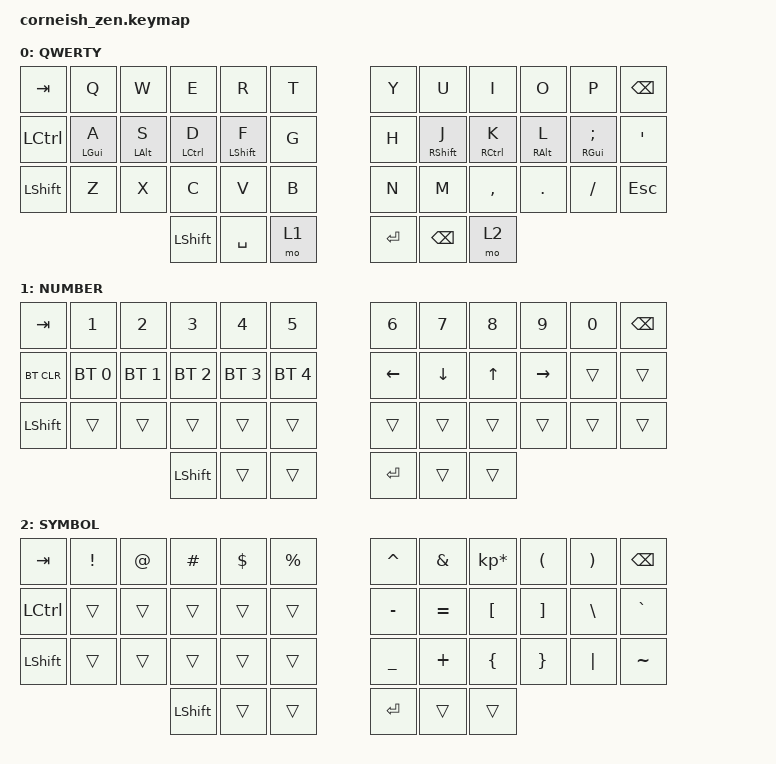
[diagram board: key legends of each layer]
/*
*
* Copyright (c) 2021 Darryl deHaan
* SPDX-License-Identifier: MIT
*
*/

#include <behaviors.dtsi>
#include <dt-bindings/zmk/keys.h>
#include <dt-bindings/zmk/bt.h>

/ {
    chosen {
        zmk,matrix-transform = &default_transform;
        // zmk,matrix-transform = &five_column_transform;
    };
};

/ {
    combos {
        compatible = "zmk,combos";
        combo_esc {
            timeout-ms = <50>;
            key-positions = <1 2>;
            bindings = <&kp ESC>;
        };
    };
};

/ {
    combos {
        compatible = "zmk,combos";
        combo_enter {
            timeout-ms = <50>;
            key-positions = <2 3>;
            bindings = <&kp RET>;
        };
    };
};
/ {
    combos {
        compatible = "zmk,combos";
        combo_leftbracket {
            timeout-ms = <50>;
            key-positions = <6 7>;
            bindings = <&kp LBKT>;
        };
    };
};
/ {
    combos {
        compatible = "zmk,combos";
        combo_rightbracket {
            timeout-ms = <50>;
            key-positions = <7 8>;
            bindings = <&kp RBKT>;
        };
    };
};
/ {
    combos {
        compatible = "zmk,combos";
        combo_backspace {
            timeout-ms = <50>;
            key-positions = <9 10>;
            bindings = <&kp BSPC>;
        };
    };
};
/ {
    combos {
        compatible = "zmk,combos";
        combo_delete {
            timeout-ms = <50>;
            key-positions = <10 11>;
            bindings = <&kp DEL>;
        };
    };
};
/ {
    combos {
        compatible = "zmk,combos";
        combo_lpar {
            timeout-ms = <50>;
            key-positions = <18 19>;
            bindings = <&kp LPAR>;
        };
    };
};
/ {
    combos {
        compatible = "zmk,combos";
        combo_rpar {
            timeout-ms = <50>;
            key-positions = <19 20>;
            bindings = <&kp RPAR>;
        };
    };
};
/ {
    combos {
        compatible = "zmk,combos";
        combo_lbrace {
            timeout-ms = <50>;
            key-positions = <30 31>;
            bindings = <&kp LBRC>;
        };
    };
};
/ {
    combos {
        compatible = "zmk,combos";
        combo_rbrace {
            timeout-ms = <50>;
            key-positions = <31 32>;
            bindings = <&kp RBRC>;
        };
    };
};

/ {
    combos {
        compatible = "zmk,combos";
        combo_rbrace {
            timeout-ms = <50>;
            key-positions = <31 32>;
            bindings = <&kp RBRC>;
        };
    };
};

/ {
    behaviors {
        bhm: balanced_homerow_mods {
            compatible = "zmk,behavior-hold-tap";
            #binding-cells = <2>;
            tapping-term-ms = <200>;    // <---[[moderate duration]]
            quick-tap-ms = <0>;
            flavor = "balanced";
            bindings = <&kp>, <&kp>;
        };
    };

    keymap {
        compatible = "zmk,keymap";

        default_layer {
            display-name = "QWERTY";
// --------------------------------------------------------------------------------
// |  TAB |  Q  |  W  |  E  |  R  |  T  |   |  Y  |  U   |  I  |  O  |  P  | BKSP |
// | CTRL |  A  |  S  |  D  |  F  |  G  |   |  H  |  J   |  K  |  L  |  ;  |  '   |
// | SHFT |  Z  |  X  |  C  |  V  |  B  |   |  N  |  M   |  ,  |  .  |  /  | ESC  |
//                    | GUI | LWR | SPC |   | ENT | RSE  | ALT |
            bindings = <
&kp TAB   &kp Q &kp W &kp E &kp R &kp T   &kp Y &kp U  &kp I     &kp O   &kp P    &kp BSPC
&kp LCTRL &bhm LGUI A &bhm LALT S &bhm LCTRL D &bhm LSHIFT F &kp G               &kp H &bhm RSHIFT J  &bhm RCTRL K &bhm RALT L &bhm RGUI SEMI &kp SQT
&kp LSHFT &kp Z &kp X &kp C &kp V &kp B   &kp N &kp M  &kp COMMA &kp DOT &kp FSLH &kp ESC
               &kp LSHFT &kp SPACE &mo 1   &kp RET &kp BSPC &mo 2 
            >;
        };

        lower_layer {
            display-name = "NUMBER";
// -----------------------------------------------------------------------------------------
// |  TAB |  1  |  2  |  3  |  4  |  5  |   |  6  |  7  |  8  |  9  |  0  | BKSP |
// | BTCLR| BT1 | BT2 | BT3 | BT4 | BT5 |   | LFT | DWN |  UP | RGT |     |      |
// | SHFT |     |     |     |     |     |   |     |     |     |     |     |      |
//                    | GUI |     | SPC |   | ENT |     | ALT |
            bindings = <
&kp TAB    &kp N1       &kp N2       &kp N3       &kp N4       &kp N5         &kp N6   &kp N7   &kp N8 &kp N9    &kp N0 &kp BSPC
&bt BT_CLR &bt BT_SEL 0 &bt BT_SEL 1 &bt BT_SEL 2 &bt BT_SEL 3 &bt BT_SEL 4   &kp LEFT &kp DOWN &kp UP &kp RIGHT &trans &trans
&kp LSHFT  &trans       &trans       &trans       &trans       &trans         &trans   &trans   &trans &trans    &trans &trans
                                     &kp LSHFT     &trans       &trans      &kp RET  &trans   &trans
            >;
        };

        raise_layer {
            display-name = "SYMBOL";
// -----------------------------------------------------------------------------------------
// |  TAB |  !  |  @  |  #  |  $  |  %  |   |  ^  |  &  |  *  |  (  |  )  | BKSP |
// | CTRL |     |     |     |     |     |   |  -  |  =  |  [  |  ]  |  \  |  `   |
// | SHFT |     |     |     |     |     |   |  _  |  +  |  {  |  }  | "|" |  ~   |
//                    | GUI |     | SPC |   | ENT |     | ALT |
            bindings = <
&kp  TAB  &kp EXCL &kp AT &kp HASH &kp DLLR &kp PRCNT   &kp CARET &kp AMPS  &kp KP_MULTIPLY &kp LPAR &kp RPAR &kp BSPC
&kp LCTRL &trans   &trans &trans   &trans   &trans      &kp MINUS &kp EQUAL &kp LBKT        &kp RBKT &kp BSLH &kp GRAVE
&kp LSHFT &trans   &trans &trans   &trans   &trans      &kp UNDER &kp PLUS  &kp LBRC        &kp RBRC &kp PIPE &kp TILDE
                          &kp LSHFT &trans   &trans   &kp RET   &trans    &trans
            >;
        };
    };
};
